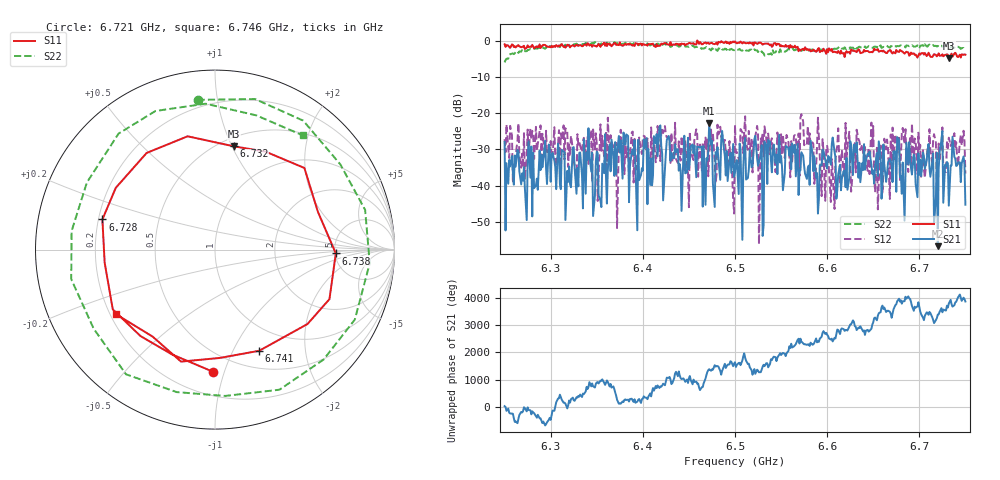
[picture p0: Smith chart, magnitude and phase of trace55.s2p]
# Hz S RI R 50
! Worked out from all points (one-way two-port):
!   401 points, 6.25 GHz to 6.75 GHz, reference 50 ohm
!   highest |S21| = -22.72 dB at 6.472 GHz (marker M1); lowest = -56.8 dB at 6.72 GHz (marker M2)
!   lowest |S11| = -4.7 dB at 6.732 GHz (marker M3), VSWR 3.82, Z = 29 + j50.8 ohm
!   |S11| at or under -10 dB: nowhere
!   |S22| runs from -5.8 to -0.2 dB; largest |S21 - S12| = 0.13
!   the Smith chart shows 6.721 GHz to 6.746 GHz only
!   S11 on the Smith chart (normalised r, x): 6.721 GHz: 0.36, -0.92; 6.728 GHz: 0.22, +0.13; 6.732 GHz: 0.58, +1.02; 6.738 GHz: 5.09, -0.40; 6.741 GHz: 0.70, -1.27; 6.746 GHz: 0.22, -0.28
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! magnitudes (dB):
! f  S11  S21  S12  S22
! 6.25 GHz  -0.8  -27.9  -27.1  -5.8
! 6.334 GHz  -1.4  -37.3  -30.7  -0.9
! 6.355 GHz  -1.1  -46.0  -30.4  -0.6
! 6.381 GHz  -0.6  -28.7  -27.2  -0.4
! 6.408 GHz  -0.8  -39.9  -38.8  -1.2
! 6.418 GHz  -1.2  -23.9  -29.3  -0.9
! 6.441 GHz  -1.0  -35.8  -33.1  -1.2
! 6.472 GHz  -0.7  -22.7  -31.8  -2.1
! 6.5 GHz  0.0  -36.4  -23.2  -2.4
! 6.509 GHz  -0.3  -34.9  -31.0  -2.4
! 6.584 GHz  -2.7  -31.0  -28.0  -2.3
! 6.605 GHz  -2.1  -28.6  -32.7  -2.3
! 6.621 GHz  -2.7  -32.3  -32.5  -2.1
! 6.668 GHz  -2.5  -32.5  -43.7  -1.8
! 6.72 GHz  -3.9  -56.8  -38.1  -1.3
! 6.721 GHz  -3.3  -35.5  -28.4  -1.5
! 6.728 GHz  -3.7  -34.2  -36.1  -1.3
! 6.732 GHz  -4.7  -45.6  -26.7  -1.8
! 6.738 GHz  -3.4  -32.1  -25.5  -1.7
! 6.741 GHz  -4.2  -34.4  -32.2  -1.5
! 6.746 GHz  -3.6  -33.9  -28.8  -1.9
! 6.75 GHz  -3.7  -45.3  -36.7  -2.3
